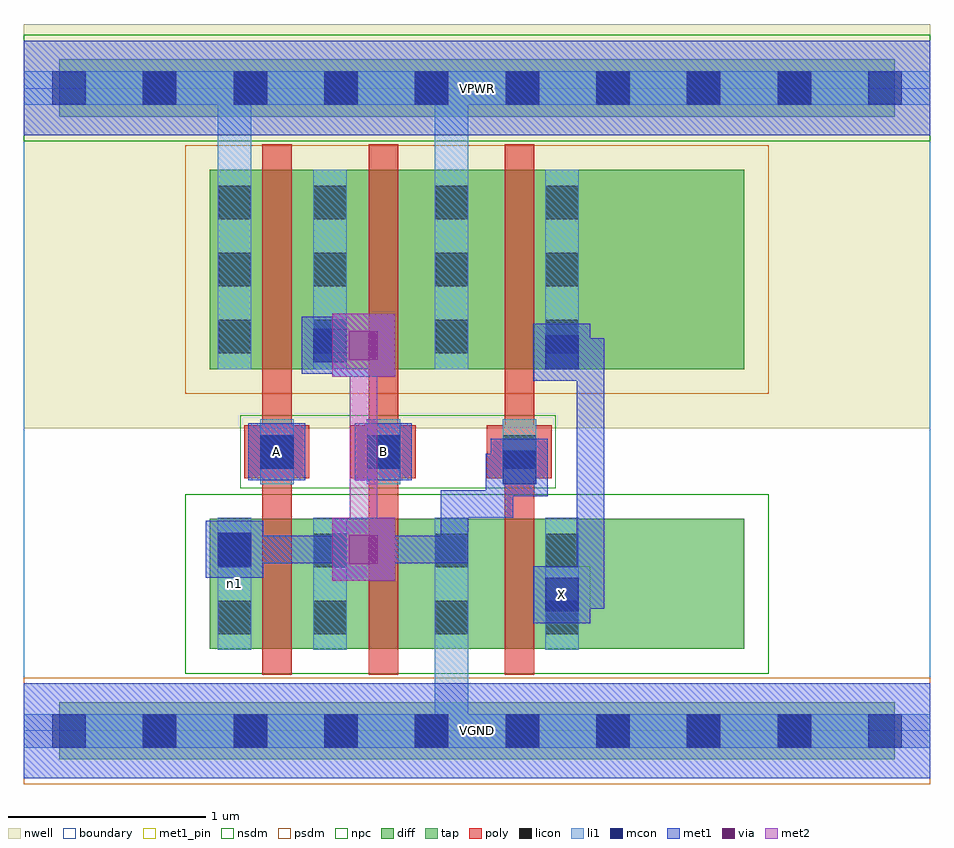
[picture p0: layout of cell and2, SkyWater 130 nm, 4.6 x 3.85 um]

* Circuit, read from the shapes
.subckt and2 A B VGND VPWR X n1
XM1 n2 A n1 VGND sky130_fd_pr__nfet_01v8 w=0.66 l=0.15
XM2 VGND B n2 VGND sky130_fd_pr__nfet_01v8 w=0.66 l=0.15
XM3 X n1 VGND VGND sky130_fd_pr__nfet_01v8 w=0.66 l=0.15
XM4 n1 A VPWR VPWR sky130_fd_pr__pfet_01v8 w=1.01 l=0.15
XM5 VPWR B n1 VPWR sky130_fd_pr__pfet_01v8 w=1.01 l=0.15
XM6 X n1 VPWR VPWR sky130_fd_pr__pfet_01v8 w=1.01 l=0.15
.ends

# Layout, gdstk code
import gdstk
lib = gdstk.Library(unit=1e-6, precision=1e-09)
def R(c, l, rs):  # rectangles x0, y0, x1, y1
    for r in rs: c.add(gdstk.rectangle(r[:2], r[2:], *l))
def A(c, l, x, y, w, h, nx, ny, dx, dy):  # array of equal rectangles
    R(c, l, [(x+i*dx, y+j*dy, x+i*dx+w, y+j*dy+h) for i in range(nx) for j in range(ny)])
nwell = (64, 20)
diff = (65, 20)
tap = (65, 44)
poly = (66, 20)
licon = (66, 44)
li1 = (67, 20)
mcon = (67, 44)
met1_pin = (68, 16)
met1 = (68, 20)
via = (68, 44)
met2 = (69, 20)
nsdm = (93, 44)
psdm = (94, 20)
npc = (95, 20)
boundary = (235, 4)

and2 = lib.new_cell('and2')
R(and2, nwell, [(0,1.535,4.6,3.585)])
R(and2, diff, [(0.945,0.415,3.655,1.075), (0.945,1.835,3.655,2.845)])
R(and2, tap, [(0.18,-0.145,4.42,0.145), (0.18,3.115,4.42,3.405)])
R(and2, poly, [(1.21,0.285,1.36,2.975), (1.75,0.285,1.9,2.975), (2.44,0.285,2.59,2.975), (1.12,1.28,1.45,1.55), (1.66,1.28,1.99,1.55), (2.35,1.28,2.68,1.55)])
A(and2, licon, 0.605, -0.085, 0.17, 0.17, 8, 2, 0.46, 3.26)
A(and2, licon, 0.985, 1.915, 0.17, 0.17, 1, 3, 0, 0.34)
A(and2, licon, 1.47, 1.915, 0.17, 0.17, 1, 3, 0, 0.34)
A(and2, licon, 2.085, 1.915, 0.17, 0.17, 1, 3, 0, 0.34)
A(and2, licon, 2.645, 1.915, 0.17, 0.17, 1, 3, 0, 0.34)
R(and2, licon, [(0.985,0.49,1.155,0.66), (1.47,0.49,1.64,0.66), (2.085,0.49,2.255,0.66), (2.645,0.49,2.815,0.66), (0.985,0.83,1.155,1), (1.47,0.83,1.64,1), (2.085,0.83,2.255,1), (2.645,0.83,2.815,1), (1.2,1.33,1.37,1.5), (1.74,1.33,1.91,1.5), (2.43,1.33,2.6,1.5)])
R(and2, li1, [(0,-0.085,4.6,0.085), (2.085,-0.085,2.255,1.08), (0.985,0.41,1.155,1.08), (1.47,0.41,1.64,1.08), (2.085,0.41,2.255,1.08), (2.645,0.41,2.815,1.08), (1.2,1.25,1.37,1.58), (1.74,1.25,1.91,1.58), (2.43,1.25,2.6,1.58), (0.985,1.835,1.155,2.845), (0.985,1.835,1.155,3.345), (1.47,1.835,1.64,2.845), (2.085,1.835,2.255,2.845), (2.085,1.835,2.255,3.345), (2.645,1.835,2.815,2.845), (0,3.175,4.6,3.345)])
A(and2, mcon, 0.145, -0.085, 0.17, 0.17, 10, 2, 0.46, 3.26)
R(and2, mcon, [(2.645,0.605,2.815,0.775), (0.985,0.835,1.155,1.005), (2.43,1.25,2.6,1.42), (1.2,1.33,1.37,1.5), (1.74,1.33,1.91,1.5), (2.645,1.835,2.815,2.005), (1.47,1.87,1.64,2.04)])
R(and2, met1_pin, [(0,-0.24,4.6,0.24), (2.585,0.545,2.875,0.835), (1.14,1.27,1.43,1.56), (1.68,1.27,1.97,1.56), (0,3.02,4.6,3.5)])
R(and2, met1, [(0,-0.24,4.6,0.24), (2.585,0.545,2.875,0.835), (2.66,0.62,2.945,0.76), (2.805,0.62,2.945,1.795), (1.565,0.76,1.885,1.08), (0.925,0.775,1.215,1.065), (1,0.85,1.335,0.99), (1.195,0.85,2.255,0.99), (2.115,0.85,2.255,1.22), (2.115,1.08,2.485,1.22), (2.345,1.08,2.485,1.405), (2.37,1.19,2.66,1.48), (2.345,1.265,2.585,1.405), (1.14,1.27,1.43,1.56), (1.68,1.27,1.97,1.56), (2.805,1.655,2.945,1.99), (2.585,1.775,2.875,2.065), (1.565,1.795,1.885,2.115), (1.41,1.81,1.7,2.1), (2.66,1.85,2.945,1.99), (1.485,1.885,1.795,2.025), (0,3.02,4.6,3.5)])
R(and2, via, [(1.65,0.845,1.8,0.995), (1.65,1.88,1.8,2.03)])
R(and2, met2, [(1.565,0.76,1.885,1.08), (1.655,0.85,1.795,2.025), (1.565,1.795,1.885,2.115)])
R(and2, nsdm, [(0.82,0.29,3.78,1.2), (0,2.99,4.6,3.53)])
R(and2, psdm, [(0,-0.27,4.6,0.27), (0.82,1.71,3.78,2.97)])
R(and2, npc, [(1.1,1.23,2.7,1.6)])
R(and2, boundary, [(0,0,4.6,3.26)])
and2.add(gdstk.Label('n1', (1.07,0.745), layer=67, texttype=5))
and2.add(gdstk.Label('A', (1.285,1.415), layer=68, texttype=5))
and2.add(gdstk.Label('B', (1.825,1.415), layer=68, texttype=5))
and2.add(gdstk.Label('X', (2.73,0.69), layer=68, texttype=5))
and2.add(gdstk.Label('VPWR', (2.3,3.26), layer=68, texttype=5))
and2.add(gdstk.Label('VGND', (2.3,0), layer=68, texttype=5))
and2.add(gdstk.Label('A', (1.285,1.415), layer=68, texttype=16))
and2.add(gdstk.Label('B', (1.825,1.415), layer=68, texttype=16))
and2.add(gdstk.Label('X', (2.73,0.69), layer=68, texttype=16))
and2.add(gdstk.Label('VPWR', (2.3,3.26), layer=68, texttype=16))
and2.add(gdstk.Label('VGND', (2.3,0), layer=68, texttype=16))

lib.write_gds('and2.gds')
